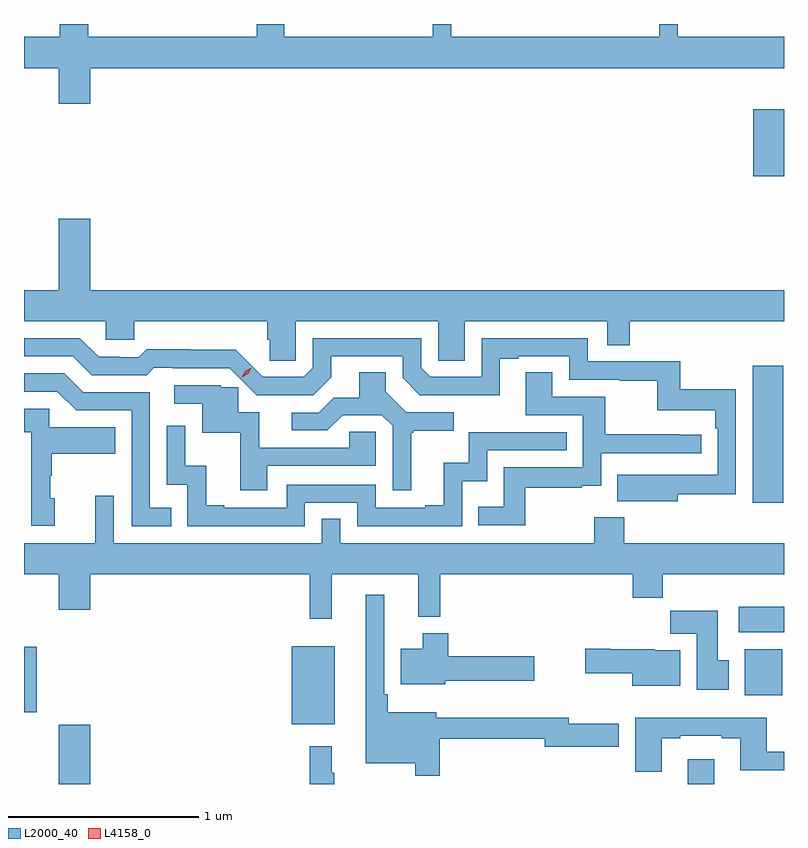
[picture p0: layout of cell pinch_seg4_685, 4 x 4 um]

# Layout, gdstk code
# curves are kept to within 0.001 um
import gdstk
lib = gdstk.Library(unit=1e-6, precision=1e-09)
def R(c, l, rs):  # rectangles x0, y0, x1, y1
    for r in rs: c.add(gdstk.rectangle(r[:2], r[2:], *l))
def P(c, l, *ps):  # polygons
    for p in ps: c.add(gdstk.Polygon(p, *l))
L2000_40 = (2000, 40)
L4158_0 = (4158, 0)

pinch_seg4_685 = lib.new_cell('pinch_seg4_685')
R(pinch_seg4_685, L2000_40, [(1124.048,749.096,1124.212,749.407), (1127.357,749.096,1127.497,749.227), (1125.272,749.411,1125.499,749.821), (1123.864,749.474,1123.93,749.818), (1127.657,749.564,1127.854,749.806), (1127.625,749.894,1127.864,750.028), (1127.699,750.576,1127.86,751.297), (1127.702,752.294,1127.864,752.647)])
P(pinch_seg4_685, L2000_40, [(1124.212,752.864),(1127.864,752.864),(1127.864,753.028),(1127.304,753.028),(1127.304,753.096),(1127.208,753.096),(1127.208,753.028),(1126.113,753.028),(1126.113,753.096),(1126.016,753.096),(1126.016,753.028),(1125.235,753.028),(1125.235,753.096),(1125.088,753.096),(1125.088,753.028),(1124.203,753.028),(1124.203,753.096),(1124.051,753.096),(1124.051,753.028),(1123.864,753.028),(1123.864,752.864),(1124.048,752.864),(1124.048,752.676),(1124.212,752.676)],
  [(1125.294,751.532),(1126.044,751.532),(1126.044,751.324),(1126.183,751.324),(1126.183,751.532),(1126.935,751.532),(1126.935,751.405),(1127.051,751.405),(1127.051,751.532),(1127.864,751.532),(1127.864,751.696),(1124.212,751.696),(1124.212,752.071),(1124.048,752.071),(1124.048,751.696),(1123.864,751.696),(1123.864,751.532),(1124.295,751.532),(1124.295,751.434),(1124.445,751.434),(1124.445,751.532),(1125.143,751.532),(1125.143,751.434),(1125.157,751.434),(1125.157,751.324),(1125.294,751.324)],
  [(1127.305,750.622),(1127.61,750.622),(1127.61,751.174),(1127.317,751.174),(1127.317,751.32),(1126.83,751.32),(1126.83,751.443),(1126.272,751.443),(1126.272,751.239),(1126.002,751.239),(1125.954,751.287),(1125.954,751.443),(1125.384,751.443),(1125.384,751.287),(1125.336,751.239),(1125.12,751.239),(1124.978,751.381),(1124.742,751.381),(1124.742,751.384),(1124.509,751.384),(1124.467,751.341),(1124.364,751.341),(1124.364,751.344),(1124.257,751.344),(1124.158,751.443),(1123.864,751.443),(1123.864,751.347),(1124.121,751.347),(1124.22,751.248),(1124.509,751.248),(1124.548,751.287),(1124.647,751.287),(1124.647,751.284),(1124.948,751.284),(1125.089,751.143),(1125.387,751.143),(1125.481,751.237),(1125.481,751.347),(1125.858,751.347),(1125.858,751.233),(1125.948,751.143),(1126.369,751.142),(1126.369,751.335),(1126.465,751.335),(1126.465,751.347),(1126.734,751.347),(1126.734,751.224),(1126.999,751.224),(1126.999,751.219),(1127.196,751.219),(1127.196,751.064),(1127.501,751.064),(1127.501,750.968),(1127.514,750.968),(1127.514,750.723),(1126.987,750.724),(1126.987,750.584),(1127.305,750.584)],
  [(1125.901,750.945),(1125.913,750.945),(1125.913,750.956),(1126.126,750.956),(1126.126,751.053),(1125.876,751.053),(1125.769,751.16),(1125.769,751.262),(1125.629,751.262),(1125.629,751.13),(1125.494,751.13),(1125.414,751.05),(1125.273,751.05),(1125.273,750.957),(1125.46,750.957),(1125.541,751.038),(1125.747,751.038),(1125.804,750.981),(1125.804,750.642),(1125.901,750.642)],
  [(1126.501,750.654),(1126.799,750.654),(1126.799,750.665),(1126.902,750.665),(1126.902,750.837),(1127.428,750.837),(1127.428,750.933),(1127.315,750.933),(1127.315,750.938),(1126.922,750.938),(1126.922,751.134),(1126.645,751.134),(1126.645,751.262),(1126.505,751.262),(1126.505,751.038),(1126.806,751.038),(1126.806,750.762),(1126.39,750.762),(1126.39,750.556),(1126.255,750.556),(1126.255,750.459),(1126.501,750.459)],
  [(1124.639,750.549),(1124.526,750.549),(1124.526,751.158),(1124.176,751.158),(1124.077,751.257),(1123.864,751.257),(1123.864,751.161),(1124.04,751.161),(1124.139,751.062),(1124.43,751.062),(1124.43,750.453),(1124.639,750.453)],
  [(1125.145,750.771),(1125.714,750.771),(1125.714,750.951),(1125.577,750.951),(1125.577,750.867),(1125.103,750.867),(1125.103,751.053),(1124.992,751.053),(1124.992,751.184),(1124.899,751.184),(1124.899,751.194),(1124.655,751.194),(1124.655,751.098),(1124.801,751.098),(1124.801,750.945),(1125.001,750.945),(1125.001,750.642),(1125.145,750.642)],
  [(1124.026,750.6),(1124.001,750.6),(1124.001,750.719),(1124.011,750.719),(1124.011,750.833),(1124.345,750.833),(1124.345,750.973),(1123.998,750.973),(1123.998,751.071),(1123.864,751.071),(1123.864,750.947),(1123.902,750.947),(1123.902,750.456),(1124.026,750.456)],
  [(1125.342,750.576),(1125.618,750.576),(1125.618,750.453),(1126.17,750.453),(1126.17,750.689),(1126.302,750.689),(1126.302,750.852),(1126.721,750.852),(1126.721,750.948),(1126.206,750.948),(1126.206,750.787),(1126.073,750.787),(1126.073,750.562),(1125.977,750.562),(1125.977,750.549),(1125.714,750.549),(1125.714,750.672),(1125.246,750.672),(1125.246,750.549),(1124.917,750.549),(1124.917,750.562),(1124.822,750.562),(1124.822,750.77),(1124.712,750.77),(1124.712,750.982),(1124.616,750.982),(1124.616,750.672),(1124.724,750.672),(1124.724,750.453),(1125.342,750.453)],
  [(1125.485,750.2),(1125.938,750.2),(1125.938,749.975),(1126.055,749.975),(1126.055,750.2),(1127.069,750.2),(1127.069,750.076),(1127.225,750.076),(1127.225,750.2),(1127.864,750.2),(1127.864,750.364),(1127.024,750.364),(1127.024,750.499),(1126.864,750.499),(1126.864,750.364),(1125.528,750.364),(1125.528,750.491),(1125.432,750.491),(1125.432,750.364),(1124.337,750.364),(1124.337,750.613),(1124.24,750.613),(1124.24,750.364),(1123.864,750.364),(1123.864,750.2),(1124.048,750.2),(1124.048,750.012),(1124.212,750.012),(1124.212,750.2),(1125.367,750.2),(1125.367,749.967),(1125.485,749.967)],
  [(1126.052,749.334),(1126.604,749.334),(1126.604,749.291),(1126.993,749.291),(1126.993,749.413),(1126.732,749.413),(1126.732,749.444),(1126.033,749.444),(1126.033,749.473),(1125.779,749.473),(1125.779,749.569),(1125.759,749.569),(1125.759,750.091),(1125.662,750.091),(1125.662,749.204),(1125.924,749.204),(1125.924,749.139),(1126.052,749.139)],
  [(1127.572,749.748),(1127.515,749.748),(1127.515,750.007),(1127.266,750.007),(1127.266,749.888),(1127.405,749.888),(1127.405,749.592),(1127.572,749.592)],
  [(1126.08,749.639),(1126.549,749.639),(1126.549,749.769),(1126.097,749.769),(1126.097,749.89),(1125.962,749.89),(1125.962,749.809),(1125.848,749.809),(1125.848,749.621),(1126.08,749.621)],
  [(1127.317,749.8),(1127.184,749.8),(1127.184,749.806),(1126.95,749.806),(1126.95,749.808),(1126.818,749.808),(1126.818,749.678),(1127.066,749.678),(1127.066,749.612),(1127.317,749.612)],
  [(1127.221,749.337),(1127.317,749.337),(1127.317,749.349),(1127.537,749.349),(1127.537,749.337),(1127.633,749.337),(1127.633,749.168),(1127.864,749.168),(1127.864,749.265),(1127.773,749.265),(1127.773,749.446),(1127.081,749.446),(1127.081,749.16),(1127.221,749.16)],
  [(1125.496,749.156),(1125.484,749.156),(1125.484,749.296),(1125.367,749.296),(1125.367,749.096),(1125.496,749.096)])
P(pinch_seg4_685, L4158_0, [(1125.011,751.236),(1125.011,751.236),(1125.028,751.268),(1125.06,751.287),(1125.06,751.287),(1125.06,751.287),(1125.043,751.254),(1125.011,751.236)])

lib.write_gds('pinch_seg4_685.gds')
